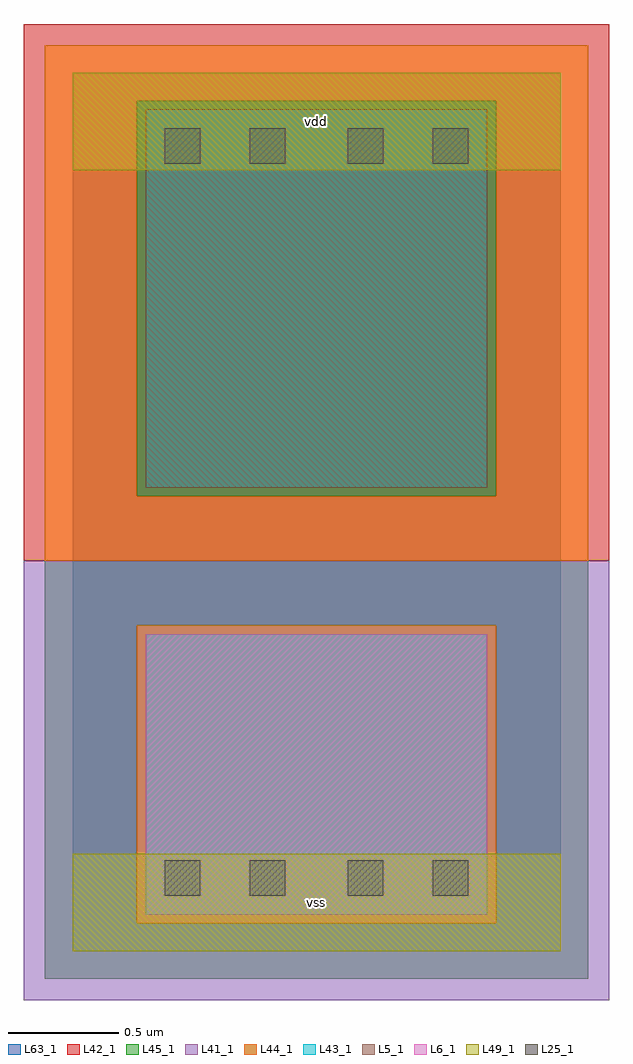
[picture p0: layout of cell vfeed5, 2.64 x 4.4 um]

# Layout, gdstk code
import gdstk
lib = gdstk.Library(unit=1e-6, precision=1e-09)
def R(c, l, rs):  # rectangles x0, y0, x1, y1
    for r in rs: c.add(gdstk.rectangle(r[:2], r[2:], *l))
L5_1 = (5, 1)
L6_1 = (6, 1)
L25_1 = (25, 1)
L41_1 = (41, 1)
L42_1 = (42, 1)
L43_1 = (43, 1)
L44_1 = (44, 1)
L45_1 = (45, 1)
L49_1 = (49, 1)
L63_1 = (63, 1)

vfeed5 = lib.new_cell('vfeed5')
R(vfeed5, L5_1, [(0.33,2.09,1.87,3.795)])
R(vfeed5, L6_1, [(0.33,0.165,1.87,1.43)])
R(vfeed5, L25_1, [(0.415,0.25,0.575,0.41), (0.8,0.25,0.96,0.41), (1.24,0.25,1.4,0.41), (1.625,0.25,1.785,0.41), (0.415,3.55,0.575,3.71), (0.8,3.55,0.96,3.71), (1.24,3.55,1.4,3.71), (1.625,3.55,1.785,3.71)])
R(vfeed5, L41_1, [(-0.22,-0.22,2.42,1.76)])
R(vfeed5, L42_1, [(-0.22,1.76,2.42,4.18)])
R(vfeed5, L43_1, [(0.33,0.165,1.87,1.43), (0.33,2.09,1.87,3.795)])
R(vfeed5, L44_1, [(0.29,0.125,1.91,1.47), (-0.125,1.76,2.325,2.05), (-0.125,2.05,0.29,3.835), (1.91,2.05,2.325,3.835), (-0.125,3.835,2.325,4.085)])
R(vfeed5, L45_1, [(-0.125,-0.125,2.325,0.125), (-0.125,0.125,0.29,1.47), (1.91,0.125,2.325,1.47), (-0.125,1.47,2.325,1.76), (0.29,2.05,1.91,3.835)])
R(vfeed5, L49_1, [(0,0,2.2,0.44), (0,3.52,2.2,3.96)])
R(vfeed5, L63_1, [(0,0,2.2,3.96)])
vfeed5.add(gdstk.Label('vss', (1.1,0.22), layer=49, texttype=1))
vfeed5.add(gdstk.Label('vdd', (1.1,3.74), layer=49, texttype=1))

lib.write_gds('vfeed5.gds')
